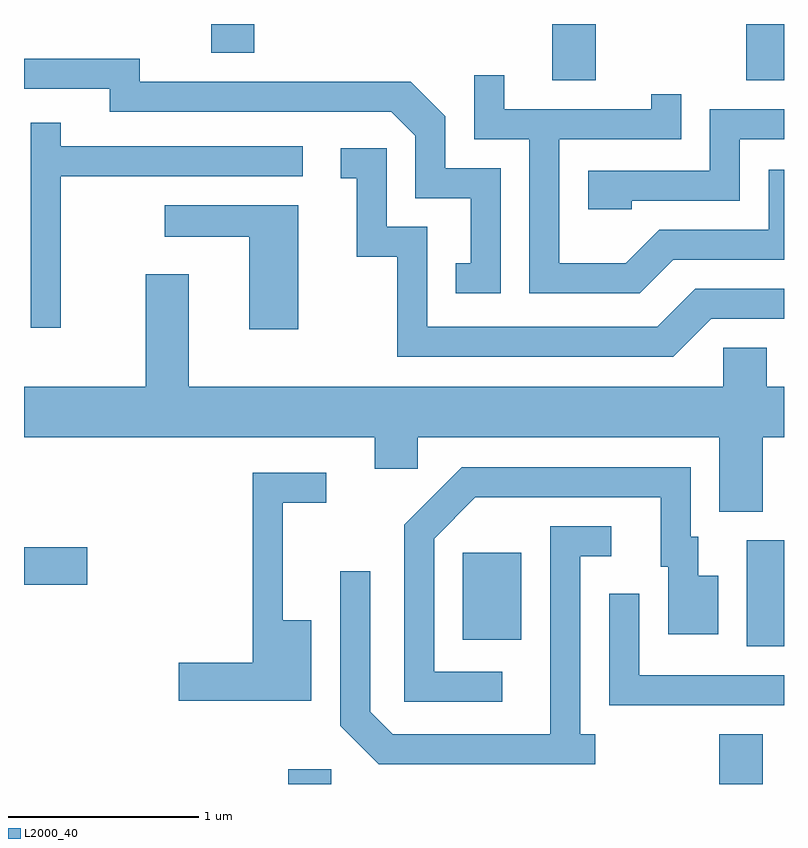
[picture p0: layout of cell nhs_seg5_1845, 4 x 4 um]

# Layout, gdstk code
import gdstk
lib = gdstk.Library(unit=1e-6, precision=1e-09)
def R(c, l, rs):  # rectangles x0, y0, x1, y1
    for r in rs: c.add(gdstk.rectangle(r[:2], r[2:], *l))
def P(c, l, *ps):  # polygons
    for p in ps: c.add(gdstk.Polygon(p, *l))
L2000_40 = (2000, 40)

nhs_seg5_1845 = lib.new_cell('nhs_seg5_1845')
R(nhs_seg5_1845, L2000_40, [(241.001,1466.072,241.229,1466.149), (243.271,1466.072,243.499,1466.334), (243.416,1466.796,243.611,1467.354), (241.921,1466.831,242.229,1467.289), (239.611,1467.121,239.944,1467.319), (242.391,1469.776,242.619,1470.072), (243.411,1469.776,243.611,1470.072), (240.596,1469.921,240.824,1470.072)])
P(nhs_seg5_1845, L2000_40, [(242.119,1469.314),(241.829,1469.314),(241.829,1469.587),(241.647,1469.769),(240.219,1469.769),(240.219,1469.889),(239.611,1469.889),(239.611,1469.731),(240.061,1469.731),(240.061,1469.611),(241.544,1469.611),(241.671,1469.484),(241.671,1469.156),(241.961,1469.156),(241.961,1468.814),(241.883,1468.814),(241.883,1468.656),(242.119,1468.656)],
  [(243.027,1468.831),(243.611,1468.831),(243.611,1469.304),(243.531,1469.304),(243.531,1468.989),(242.954,1468.989),(242.779,1468.814),(242.429,1468.814),(242.429,1469.466),(243.069,1469.466),(243.069,1469.703),(242.911,1469.703),(242.911,1469.624),(242.139,1469.624),(242.139,1469.803),(241.981,1469.803),(241.981,1469.466),(242.271,1469.466),(242.271,1468.656),(242.852,1468.656)],
  [(242.809,1469.141),(243.379,1469.141),(243.379,1469.466),(243.611,1469.466),(243.611,1469.624),(243.221,1469.624),(243.221,1469.299),(242.581,1469.299),(242.581,1469.096),(242.809,1469.096)],
  [(239.804,1469.271),(241.078,1469.271),(241.078,1469.429),(239.804,1469.429),(239.804,1469.553),(239.646,1469.553),(239.646,1468.473),(239.804,1468.473)],
  [(243.227,1468.521),(243.611,1468.521),(243.611,1468.679),(243.144,1468.679),(242.944,1468.479),(241.734,1468.479),(241.734,1469.004),(241.519,1469.004),(241.519,1469.419),(241.278,1469.419),(241.278,1469.261),(241.361,1469.261),(241.361,1468.846),(241.576,1468.846),(241.576,1468.321),(243.027,1468.321)],
  [(241.054,1469.119),(240.353,1469.119),(240.353,1468.951),(240.796,1468.951),(240.796,1468.466),(241.054,1468.466)],
  [(243.499,1467.896),(243.611,1467.896),(243.611,1468.164),(243.519,1468.164),(243.519,1468.369),(243.291,1468.369),(243.291,1468.164),(240.479,1468.164),(240.479,1468.754),(240.251,1468.754),(240.251,1468.164),(239.611,1468.164),(239.611,1467.896),(241.456,1467.896),(241.456,1467.731),(241.684,1467.731),(241.684,1467.896),(243.271,1467.896),(243.271,1467.506),(243.499,1467.506)],
  [(242.128,1466.664),(241.769,1466.664),(241.769,1467.364),(241.987,1467.581),(242.961,1467.581),(242.961,1467.216),(243.001,1467.216),(243.001,1466.861),(243.264,1466.861),(243.264,1467.169),(243.159,1467.169),(243.159,1467.374),(243.119,1467.374),(243.119,1467.739),(241.914,1467.739),(241.611,1467.437),(241.611,1466.506),(242.128,1466.506)],
  [(241.124,1466.934),(240.974,1466.934),(240.974,1467.551),(241.203,1467.551),(241.203,1467.709),(240.816,1467.709),(240.816,1466.709),(240.426,1466.709),(240.426,1466.511),(241.124,1466.511)],
  [(242.618,1466.334),(242.539,1466.334),(242.539,1467.271),(242.703,1467.271),(242.703,1467.429),(242.381,1467.429),(242.381,1466.334),(241.552,1466.334),(241.434,1466.452),(241.434,1467.193),(241.276,1467.193),(241.276,1466.379),(241.479,1466.176),(242.618,1466.176)],
  [(243.611,1466.644),(242.849,1466.644),(242.849,1467.073),(242.691,1467.073),(242.691,1466.486),(243.611,1466.486)])

lib.write_gds('nhs_seg5_1845.gds')
